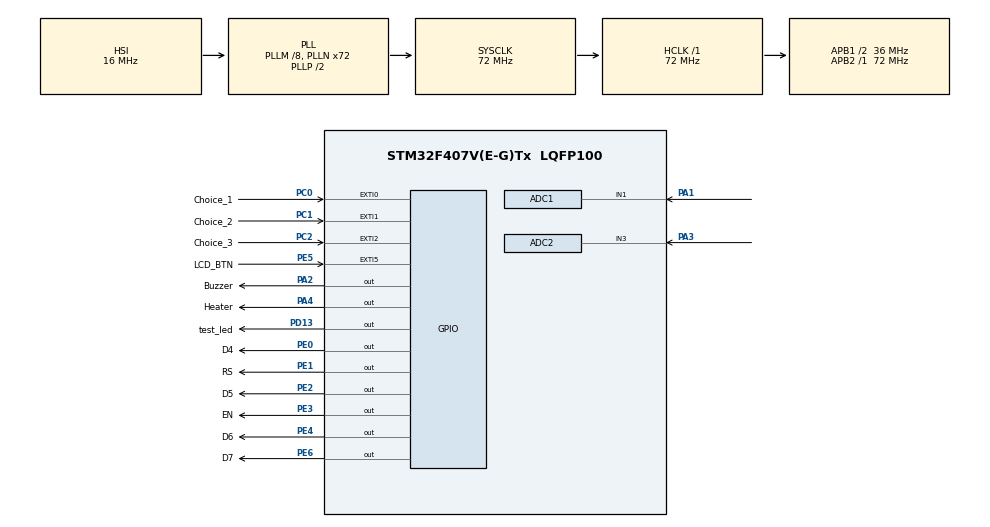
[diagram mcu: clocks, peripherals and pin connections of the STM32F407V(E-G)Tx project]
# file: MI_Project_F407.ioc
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ADC1.Channel-1\#ChannelRegularConversion=ADC_CHANNEL_1
ADC1.NbrOfConversionFlag=1
ADC1.Rank-1\#ChannelRegularConversion=1
ADC1.SamplingTime-1\#ChannelRegularConversion=ADC_SAMPLETIME_3CYCLES
ADC1.master=1
ADC2.Channel-2\#ChannelRegularConversion=ADC_CHANNEL_3
ADC2.NbrOfConversionFlag=1
ADC2.Rank-2\#ChannelRegularConversion=1
ADC2.SamplingTime-2\#ChannelRegularConversion=ADC_SAMPLETIME_3CYCLES
Mcu.Family=STM32F4
Mcu.Name=STM32F407V(E-G)Tx
Mcu.Package=LQFP100
NVIC.EXTI0_IRQn=true\:0\:0\:false\:false\:true\:true\:true\:true
NVIC.EXTI1_IRQn=true\:0\:0\:false\:false\:true\:true\:true\:true
NVIC.EXTI2_IRQn=true\:0\:0\:false\:false\:true\:true\:true\:true
NVIC.EXTI9_5_IRQn=true\:0\:0\:false\:false\:true\:true\:true\:true
NVIC.PriorityGroup=NVIC_PRIORITYGROUP_4
PA1.Signal=ADCx_IN1
PA13.Mode=Serial_Wire
PA13.Signal=SYS_JTMS-SWDIO
PA14.Mode=Serial_Wire
PA14.Signal=SYS_JTCK-SWCLK
PA2.GPIO_Label=Buzzer
PA2.Signal=GPIO_Output
PA3.Signal=ADCx_IN3
PA4.GPIO_Label=Heater
PA4.Signal=GPIO_Output
PC0.GPIO_Label=Choice_1
PC0.GPIO_PuPd=GPIO_PULLUP
PC0.Signal=GPXTI0
PC1.GPIO_Label=Choice_2
PC1.GPIO_PuPd=GPIO_PULLUP
PC1.Signal=GPXTI1
PC2.GPIO_Label=Choice_3
PC2.Signal=GPXTI2
PD13.GPIO_Label=test_led
PD13.Signal=GPIO_Output
PE0.GPIO_Label=D4
PE0.Signal=GPIO_Output
PE1.GPIO_Label=RS
PE1.Signal=GPIO_Output
PE2.GPIO_Label=D5
PE2.Signal=GPIO_Output
PE3.GPIO_Label=EN
PE3.Signal=GPIO_Output
PE4.GPIO_Label=D6
PE4.Signal=GPIO_Output
PE5.GPIO_Label=LCD_BTN
PE5.GPIO_ModeDefaultEXTI=GPIO_MODE_IT_RISING
PE5.GPIO_PuPd=GPIO_PULLDOWN
PE5.Signal=GPXTI5
PE6.GPIO_Label=D7
PE6.Signal=GPIO_Output
PH0-OSC_IN.Mode=HSE-External-Oscillator
PH0-OSC_IN.Signal=RCC_OSC_IN
PH1-OSC_OUT.Mode=HSE-External-Oscillator
PH1-OSC_OUT.Signal=RCC_OSC_OUT
ProjectManager.HeapSize=0x200
ProjectManager.StackSize=0x400
ProjectManager.TargetToolchain=STM32CubeIDE
RCC.48MHZClocksFreq_Value=36000000
RCC.AHBFreq_Value=72000000
RCC.APB1CLKDivider=RCC_HCLK_DIV2
RCC.APB1Freq_Value=36000000
RCC.APB1TimFreq_Value=72000000
RCC.APB2Freq_Value=72000000
RCC.APB2TimFreq_Value=72000000
RCC.CortexFreq_Value=72000000
RCC.HCLKFreq_Value=72000000
RCC.HSE_VALUE=25000000
RCC.HSI_VALUE=16000000
RCC.LSE_VALUE=32768
RCC.PLLM=8
RCC.PLLN=72
RCC.SYSCLKFreq_VALUE=72000000
RCC.SYSCLKSource=RCC_SYSCLKSOURCE_PLLCLK
RCC.VCOOutputFreq_Value=144000000
SH.ADCx_IN1.0=ADC1_IN1,IN1
SH.ADCx_IN3.0=ADC2_IN3,IN3
TIM1.Period=0xffff-1
TIM1.Prescaler=72-1
VP_TIM1_VS_ClockSourceINT.Mode=Internal
board=custom

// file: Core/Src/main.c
/* USER CODE BEGIN Header */
/**
  ******************************************************************************
  * @file           : main.c
  * @brief          : Main program body
  ******************************************************************************
  * @attention
  *
  * Copyright (c) 2023 STMicroelectronics.
  * All rights reserved.
  *
  * This software is licensed under terms that can be found in the LICENSE file
  * in the root directory of this software component.
  * If no LICENSE file comes with this software, it is provided AS-IS.
  *
  ******************************************************************************
  */
/* USER CODE END Header */
#include "main.h"

/* USER CODE BEGIN Includes */
#include "lcd.h"
#include "stdio.h"
/* USER CODE END Includes */

/* USER CODE BEGIN PD */
int display_state = 1;
int temp;
int input = 30;
/* USER CODE END PD */

ADC_HandleTypeDef hadc1;
ADC_HandleTypeDef hadc2;

TIM_HandleTypeDef htim1;

/* USER CODE BEGIN PV */
long map(long x, long in_min, long in_max, long out_min, long out_max) {
  return (x - in_min) * (out_max - out_min) / (in_max - in_min) + out_min;
}
/* USER CODE END PV */

void SystemClock_Config(void);
static void MX_GPIO_Init(void);
static void MX_TIM1_Init(void);
static void MX_ADC1_Init(void);
static void MX_ADC2_Init(void);

/* USER CODE BEGIN 0 */
int ADCConfig(void){
	HAL_ADC_Start(&hadc1);
    HAL_ADC_PollForConversion(&hadc1, 100);
    uint16_t adcVal = HAL_ADC_GetValue(&hadc1);
    int maping = map(adcVal, 0, 4095, 0, 40);
    HAL_ADC_Stop(&hadc1);
    HAL_Delay(500);
    return maping;

}

//int ADC2Config(void){
//	HAL_ADC_Start(&hadc2);
//    HAL_ADC_PollForConversion(&hadc2, 100);
//    uint16_t adcVal = HAL_ADC_GetValue(&hadc2);
//
//    temp = (adcVal*500.0)/4095.0;
//    HAL_ADC_Stop(&hadc2);
//    HAL_Delay(500);
//    return adcVal;
//
//}

void lcd_initial(){
	  lcd_clear();
	  lcd_cursorShow(0);
	  //lcd_setCursor(0, 3);
	  lcd_printf("Water Level");
	  lcd_2ndLine();
	  //lcd_setCursor(1, 0);
	  lcd_printf("Sensor Module");
	  HAL_Delay(2000);
	  lcd_clear();
	  lcd_1stLine();
	  //lcd_setCursor(0, 0);
	  lcd_printf("Project by:Awwab");
	  lcd_2ndLine();
	  lcd_printf("Abubakar, Furqan");
	  lcd_clear();

	  HAL_Delay(2000);
}

/* USER CODE END 0 */

int main(void)
{
  /* USER CODE BEGIN 1 */
	char txt[30];
	char txt1[30];
	char txt2[30];
	int adcVal = 0;
  /* USER CODE END 1 */

  /* MCU Configuration--------------------------------------------------------*/

  /* Reset of all peripherals, Initializes the Flash interface and the Systick. */
  HAL_Init();

  /* USER CODE BEGIN Init */
  int value;
  int voltageOut;
  int quotient, remainder, tempA, tempB;
  /* USER CODE END Init */

  /* Configure the system clock */
  SystemClock_Config();

  /* Initialize all configured peripherals */
  MX_GPIO_Init();
  MX_TIM1_Init();
  MX_ADC1_Init();
  MX_ADC2_Init();
  /* USER CODE BEGIN 2 */
  lcd_init_4bits(RS_GPIO_Port, RS_Pin, EN_Pin, D4_GPIO_Port, D4_Pin, D5_Pin, D6_Pin, D7_Pin);
  HAL_Delay(100);

  HAL_Delay(2000);
  //lcd_clear();
  lcd_initial();
  /* USER CODE END 2 */

  /* Infinite loop */
  /* USER CODE BEGIN WHILE */
  //lcd_printf("Level:");
  while (1)
  {
    /* USER CODE END WHILE */

    /* USER CODE BEGIN 3 */
	value = ADCConfig();

	  //percent = ((float)adcVal/4000)*100;
	  sprintf(txt,"%d", (int) value);
	  if (display_state == 1){
		  lcd_clear();
		  lcd_printf("Level:");
		  lcd_setCursor(0,7);
		  lcd_printf(txt);
		  lcd_setCursor(0, 10);
		  lcd_printf("mm");
	  } else if (display_state == 0){
		  	  HAL_ADC_Start(&hadc2);
		  	if (HAL_ADC_PollForConversion(&hadc2, 100) == HAL_OK){
		  		adcVal = HAL_ADC_GetValue(&hadc2);

		  		voltageOut = (adcVal*500)/4096.0;
		  		temp = (voltageOut/5);

		  		//quotient = temp/10;
		  		//remainder = temp % 10;
		  		//tempA = quotient + 0x30;
		  		sprintf(txt1,"%d", temp);
		  		lcd_clear();
		  		lcd_printf("Temp:");
		  		lcd_setCursor(0,7);
		  		lcd_printf(txt1);
		  		lcd_setCursor(0, 10);
		  		lcd_printf("C");
		  	//	HAL_ADC_Stop(&hadc2);
		  		//HAL_Delay(500);
		  	}

	  }
	  if (display_state == 2){
		lcd_clear();
		lcd_printf("1");
		lcd_setCursor(0,5);
		lcd_printf("2");
		lcd_setCursor(0,10);
		lcd_printf("3");
		lcd_2ndLine();
		lcd_printf("40");
		lcd_setCursor(1, 5);
		lcd_printf("30");
		lcd_setCursor(1, 10);
		lcd_printf("20");
	  }
	  if (display_state == 3){
		  lcd_clear();
		  lcd_printf("Max Level: ");
		  lcd_setCursor(0,12);
		  sprintf(txt2,"%d", input);
		  lcd_printf(txt2);
		  display_state = 1;
		  HAL_Delay(1000);
	  }
	  if (value >= input) {
		  HAL_GPIO_WritePin(Buzzer_GPIO_Port, Buzzer_Pin, 1);
		  HAL_GPIO_WritePin(test_led_GPIO_Port, test_led_Pin, 1);
	  } else {
		  HAL_GPIO_WritePin(Buzzer_GPIO_Port, Buzzer_Pin, 0);
		  HAL_GPIO_WritePin(test_led_GPIO_Port, test_led_Pin, 0);
	  }
	  if (temp < 25) {
		  HAL_GPIO_WritePin(Heater_GPIO_Port, Heater_Pin, 1);
	  }else if (temp > 35) {
		  HAL_GPIO_WritePin(Heater_GPIO_Port, Heater_Pin, 0);
	  }
	  //lcd_printf(txt);
  }
  /* USER CODE END 3 */
}

void SystemClock_Config(void)
{
  RCC_OscInitTypeDef RCC_OscInitStruct = {0};
  RCC_ClkInitTypeDef RCC_ClkInitStruct = {0};

  /** Configure the main internal regulator output voltage
  */
  __HAL_RCC_PWR_CLK_ENABLE();
  __HAL_PWR_VOLTAGESCALING_CONFIG(PWR_REGULATOR_VOLTAGE_SCALE1);

  /** Initializes the RCC Oscillators according to the specified parameters
  * in the RCC_OscInitTypeDef structure.
  */
  RCC_OscInitStruct.OscillatorType = RCC_OSCILLATORTYPE_HSI;
  RCC_OscInitStruct.HSIState = RCC_HSI_ON;
  RCC_OscInitStruct.HSICalibrationValue = RCC_HSICALIBRATION_DEFAULT;
  RCC_OscInitStruct.PLL.PLLState = RCC_PLL_ON;
  RCC_OscInitStruct.PLL.PLLSource = RCC_PLLSOURCE_HSI;
  RCC_OscInitStruct.PLL.PLLM = 8;
  RCC_OscInitStruct.PLL.PLLN = 72;
  RCC_OscInitStruct.PLL.PLLP = RCC_PLLP_DIV2;
  RCC_OscInitStruct.PLL.PLLQ = 4;
  if (HAL_RCC_OscConfig(&RCC_OscInitStruct) != HAL_OK)
  {
    Error_Handler();
  }

  /** Initializes the CPU, AHB and APB buses clocks
  */
  RCC_ClkInitStruct.ClockType = RCC_CLOCKTYPE_HCLK|RCC_CLOCKTYPE_SYSCLK
                              |RCC_CLOCKTYPE_PCLK1|RCC_CLOCKTYPE_PCLK2;
  RCC_ClkInitStruct.SYSCLKSource = RCC_SYSCLKSOURCE_PLLCLK;
  RCC_ClkInitStruct.AHBCLKDivider = RCC_SYSCLK_DIV1;
  RCC_ClkInitStruct.APB1CLKDivider = RCC_HCLK_DIV2;
  RCC_ClkInitStruct.APB2CLKDivider = RCC_HCLK_DIV1;

  if (HAL_RCC_ClockConfig(&RCC_ClkInitStruct, FLASH_LATENCY_2) != HAL_OK)
  {
    Error_Handler();
  }
}

static void MX_ADC1_Init(void)
{

  ADC_ChannelConfTypeDef sConfig = {0};

  /** Configure the global features of the ADC (Clock, Resolution, Data Alignment and number of conversion)
  */
  hadc1.Instance = ADC1;
  hadc1.Init.ClockPrescaler = ADC_CLOCK_SYNC_PCLK_DIV2;
  hadc1.Init.Resolution = ADC_RESOLUTION_12B;
  hadc1.Init.ScanConvMode = DISABLE;
  hadc1.Init.ContinuousConvMode = DISABLE;
  hadc1.Init.DiscontinuousConvMode = DISABLE;
  hadc1.Init.ExternalTrigConvEdge = ADC_EXTERNALTRIGCONVEDGE_NONE;
  hadc1.Init.ExternalTrigConv = ADC_SOFTWARE_START;
  hadc1.Init.DataAlign = ADC_DATAALIGN_RIGHT;
  hadc1.Init.NbrOfConversion = 1;
  hadc1.Init.DMAContinuousRequests = DISABLE;
  hadc1.Init.EOCSelection = ADC_EOC_SINGLE_CONV;
  if (HAL_ADC_Init(&hadc1) != HAL_OK)
  {
    Error_Handler();
  }

  /** Configure for the selected ADC regular channel its corresponding rank in the sequencer and its sample time.
  */
  sConfig.Channel = ADC_CHANNEL_1;
  sConfig.Rank = 1;
  sConfig.SamplingTime = ADC_SAMPLETIME_3CYCLES;
  if (HAL_ADC_ConfigChannel(&hadc1, &sConfig) != HAL_OK)
  {
    Error_Handler();
  }

}

static void MX_ADC2_Init(void)
{

  ADC_ChannelConfTypeDef sConfig = {0};

  /** Configure the global features of the ADC (Clock, Resolution, Data Alignment and number of conversion)
  */
  hadc2.Instance = ADC2;
  hadc2.Init.ClockPrescaler = ADC_CLOCK_SYNC_PCLK_DIV2;
  hadc2.Init.Resolution = ADC_RESOLUTION_12B;
  hadc2.Init.ScanConvMode = DISABLE;
  hadc2.Init.ContinuousConvMode = DISABLE;
  hadc2.Init.DiscontinuousConvMode = DISABLE;
  hadc2.Init.ExternalTrigConvEdge = ADC_EXTERNALTRIGCONVEDGE_NONE;
  hadc2.Init.ExternalTrigConv = ADC_SOFTWARE_START;
  hadc2.Init.DataAlign = ADC_DATAALIGN_RIGHT;
  hadc2.Init.NbrOfConversion = 1;
  hadc2.Init.DMAContinuousRequests = DISABLE;
  hadc2.Init.EOCSelection = ADC_EOC_SINGLE_CONV;
  if (HAL_ADC_Init(&hadc2) != HAL_OK)
  {
    Error_Handler();
  }

  /** Configure for the selected ADC regular channel its corresponding rank in the sequencer and its sample time.
  */
  sConfig.Channel = ADC_CHANNEL_3;
  sConfig.Rank = 1;
  sConfig.SamplingTime = ADC_SAMPLETIME_3CYCLES;
  if (HAL_ADC_ConfigChannel(&hadc2, &sConfig) != HAL_OK)
  {
    Error_Handler();
  }

}

static void MX_TIM1_Init(void)
{

  TIM_ClockConfigTypeDef sClockSourceConfig = {0};
  TIM_MasterConfigTypeDef sMasterConfig = {0};

  htim1.Instance = TIM1;
  htim1.Init.Prescaler = 72-1;
  htim1.Init.CounterMode = TIM_COUNTERMODE_UP;
  htim1.Init.Period = 0xffff-1;
  htim1.Init.ClockDivision = TIM_CLOCKDIVISION_DIV1;
  htim1.Init.RepetitionCounter = 0;
  htim1.Init.AutoReloadPreload = TIM_AUTORELOAD_PRELOAD_DISABLE;
  if (HAL_TIM_Base_Init(&htim1) != HAL_OK)
  {
    Error_Handler();
  }
  sClockSourceConfig.ClockSource = TIM_CLOCKSOURCE_INTERNAL;
  if (HAL_TIM_ConfigClockSource(&htim1, &sClockSourceConfig) != HAL_OK)
  {
    Error_Handler();
  }
  sMasterConfig.MasterOutputTrigger = TIM_TRGO_RESET;
  sMasterConfig.MasterSlaveMode = TIM_MASTERSLAVEMODE_DISABLE;
  if (HAL_TIMEx_MasterConfigSynchronization(&htim1, &sMasterConfig) != HAL_OK)
  {
    Error_Handler();
  }

}

static void MX_GPIO_Init(void)
{
  GPIO_InitTypeDef GPIO_InitStruct = {0};

  /* GPIO Ports Clock Enable */
  __HAL_RCC_GPIOE_CLK_ENABLE();
  __HAL_RCC_GPIOH_CLK_ENABLE();
  __HAL_RCC_GPIOC_CLK_ENABLE();
  __HAL_RCC_GPIOA_CLK_ENABLE();
  __HAL_RCC_GPIOD_CLK_ENABLE();

  /*Configure GPIO pin Output Level */
  HAL_GPIO_WritePin(GPIOE, D5_Pin|EN_Pin|D6_Pin|D7_Pin
                          |D4_Pin|RS_Pin, GPIO_PIN_RESET);

  /*Configure GPIO pin Output Level */
  HAL_GPIO_WritePin(GPIOA, Buzzer_Pin|Heater_Pin, GPIO_PIN_RESET);

  /*Configure GPIO pin Output Level */
  HAL_GPIO_WritePin(test_led_GPIO_Port, test_led_Pin, GPIO_PIN_RESET);

  /*Configure GPIO pins : D5_Pin EN_Pin D6_Pin D7_Pin
                           D4_Pin RS_Pin */
  GPIO_InitStruct.Pin = D5_Pin|EN_Pin|D6_Pin|D7_Pin
                          |D4_Pin|RS_Pin;
  GPIO_InitStruct.Mode = GPIO_MODE_OUTPUT_PP;
  GPIO_InitStruct.Pull = GPIO_NOPULL;
  GPIO_InitStruct.Speed = GPIO_SPEED_FREQ_LOW;
  HAL_GPIO_Init(GPIOE, &GPIO_InitStruct);

  /*Configure GPIO pin : LCD_BTN_Pin */
  GPIO_InitStruct.Pin = LCD_BTN_Pin;
  GPIO_InitStruct.Mode = GPIO_MODE_IT_RISING;
  GPIO_InitStruct.Pull = GPIO_PULLDOWN;
  HAL_GPIO_Init(LCD_BTN_GPIO_Port, &GPIO_InitStruct);

  /*Configure GPIO pins : Choice_1_Pin Choice_2_Pin */
  GPIO_InitStruct.Pin = Choice_1_Pin|Choice_2_Pin;
  GPIO_InitStruct.Mode = GPIO_MODE_IT_RISING;
  GPIO_InitStruct.Pull = GPIO_PULLUP;
  HAL_GPIO_Init(GPIOC, &GPIO_InitStruct);

  /*Configure GPIO pin : Choice_3_Pin */
  GPIO_InitStruct.Pin = Choice_3_Pin;
  GPIO_InitStruct.Mode = GPIO_MODE_IT_RISING;
  GPIO_InitStruct.Pull = GPIO_NOPULL;
  HAL_GPIO_Init(Choice_3_GPIO_Port, &GPIO_InitStruct);

  /*Configure GPIO pins : Buzzer_Pin Heater_Pin */
  GPIO_InitStruct.Pin = Buzzer_Pin|Heater_Pin;
  GPIO_InitStruct.Mode = GPIO_MODE_OUTPUT_PP;
  GPIO_InitStruct.Pull = GPIO_NOPULL;
  GPIO_InitStruct.Speed = GPIO_SPEED_FREQ_LOW;
  HAL_GPIO_Init(GPIOA, &GPIO_InitStruct);

  /*Configure GPIO pin : test_led_Pin */
  GPIO_InitStruct.Pin = test_led_Pin;
  GPIO_InitStruct.Mode = GPIO_MODE_OUTPUT_PP;
  GPIO_InitStruct.Pull = GPIO_NOPULL;
  GPIO_InitStruct.Speed = GPIO_SPEED_FREQ_LOW;
  HAL_GPIO_Init(test_led_GPIO_Port, &GPIO_InitStruct);

  /* EXTI interrupt init*/
  HAL_NVIC_SetPriority(EXTI0_IRQn, 0, 0);
  HAL_NVIC_EnableIRQ(EXTI0_IRQn);

  HAL_NVIC_SetPriority(EXTI1_IRQn, 0, 0);
  HAL_NVIC_EnableIRQ(EXTI1_IRQn);

  HAL_NVIC_SetPriority(EXTI2_IRQn, 0, 0);
  HAL_NVIC_EnableIRQ(EXTI2_IRQn);

  HAL_NVIC_SetPriority(EXTI9_5_IRQn, 0, 0);
  HAL_NVIC_EnableIRQ(EXTI9_5_IRQn);

}

/* USER CODE BEGIN 4 */
void HAL_GPIO_EXTI_Callback(uint16_t GPIO_Pin){
	if(GPIO_Pin == LCD_BTN_Pin ){
		//HAL_GPIO_TogglePin(test_led_GPIO_Port, test_led_Pin);
		//HAL_GPIO_WritePin(test_led_GPIO_Port, test_led_Pin, 1);
		if (display_state == 1){
		//	lcd_clear();
			HAL_GPIO_WritePin(test_led_GPIO_Port, test_led_Pin, 1);
			//lcd_printf("Temp:");
			display_state = 0;
		}
		else{
			//HAL_GPIO_TogglePin(test_led_GPIO_Port, test_led_Pin);
			//lcd_clear();
			//HAL_GPIO_WritePin(test_led_GPIO_Port, test_led_Pin, 0);
			//lcd_printf("Level:");
			display_state = 1;
		}
	}
	if (GPIO_Pin == Choice_1_Pin){
		//HAL_GPIO_TogglePin(test_led_GPIO_Port, test_led_Pin);
		//lcd_clear();
		display_state = 2;
		//HAL_Delay(1000);
	}
	if (GPIO_Pin == Choice_2_Pin) {
		input = 40;
		//HAL_GPIO_TogglePin(test_led_GPIO_Port, test_led_Pin);
		//HAL_Delay(1000);
		display_state = 3;
	}
	if (GPIO_Pin == Choice_3_Pin) {
		input = 30;
		//HAL_GPIO_TogglePin(test_led_GPIO_Port, test_led_Pin);
		display_state = 3;
		//display_state = 1;
	}
	if (GPIO_Pin == Choice_4_Pin){
		input = 20;
		display_state = 3;
	}
}
/* USER CODE END 4 */

void Error_Handler(void)
{
  __disable_irq();
  while (1)
  {
  }
}
